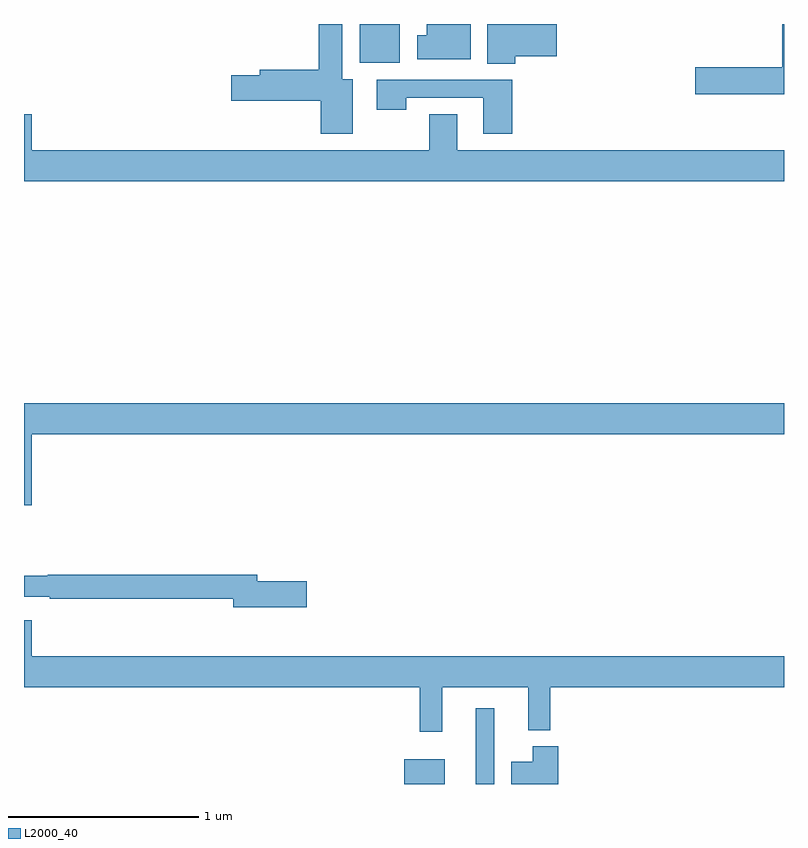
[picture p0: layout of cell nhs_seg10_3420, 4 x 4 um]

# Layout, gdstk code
import gdstk
lib = gdstk.Library(unit=1e-6, precision=1e-09)
def R(c, l, rs):  # rectangles x0, y0, x1, y1
    for r in rs: c.add(gdstk.rectangle(r[:2], r[2:], *l))
def P(c, l, *ps):  # polygons
    for p in ps: c.add(gdstk.Polygon(p, *l))
L2000_40 = (2000, 40)

nhs_seg10_3420 = lib.new_cell('nhs_seg10_3420')
R(nhs_seg10_3420, L2000_40, [(299,1274.5,299.215,1274.629), (299.378,1274.5,299.475,1274.899), (298.766,1278.296,298.978,1278.5)])
P(nhs_seg10_3420, L2000_40, [(301,1278.5),(300.992,1278.5),(300.992,1278.272),(300.534,1278.272),(300.534,1278.13),(301,1278.13)],
  [(299.585,1278.329),(299.803,1278.329),(299.803,1278.5),(299.438,1278.5),(299.438,1278.292),(299.585,1278.292)],
  [(298.729,1278.208),(298.675,1278.208),(298.675,1278.5),(298.55,1278.5),(298.55,1278.26),(298.241,1278.26),(298.241,1278.23),(298.092,1278.23),(298.092,1278.095),(298.562,1278.095),(298.562,1277.922),(298.729,1277.922)],
  [(299.35,1278.5),(299.12,1278.5),(299.12,1278.442),(299.069,1278.442),(299.069,1278.314),(299.35,1278.314)],
  [(299.57,1278.207),(298.857,1278.207),(298.857,1278.048),(299.013,1278.048),(299.013,1278.111),(299.417,1278.111),(299.417,1277.922),(299.57,1277.922)],
  [(301,1277.836),(299.281,1277.836),(299.281,1278.026),(299.134,1278.026),(299.134,1277.836),(297.04,1277.836),(297.04,1278.025),(297,1278.025),(297,1277.672),(301,1277.672)],
  [(297.04,1276.34),(301,1276.34),(301,1276.504),(297,1276.504),(297,1275.966),(297.04,1275.966)],
  [(298.489,1275.566),(298.228,1275.566),(298.228,1275.602),(297.125,1275.602),(297.125,1275.595),(297,1275.595),(297,1275.486),(297.136,1275.486),(297.136,1275.474),(298.1,1275.474),(298.1,1275.431),(298.489,1275.431)],
  [(299.201,1275.008),(299.654,1275.008),(299.654,1274.783),(299.771,1274.783),(299.771,1275.008),(301,1275.008),(301,1275.172),(297.04,1275.172),(297.04,1275.361),(297,1275.361),(297,1275.008),(299.083,1275.008),(299.083,1274.775),(299.201,1274.775)],
  [(299.813,1274.698),(299.678,1274.698),(299.678,1274.617),(299.564,1274.617),(299.564,1274.5),(299.813,1274.5)])

lib.write_gds('nhs_seg10_3420.gds')
